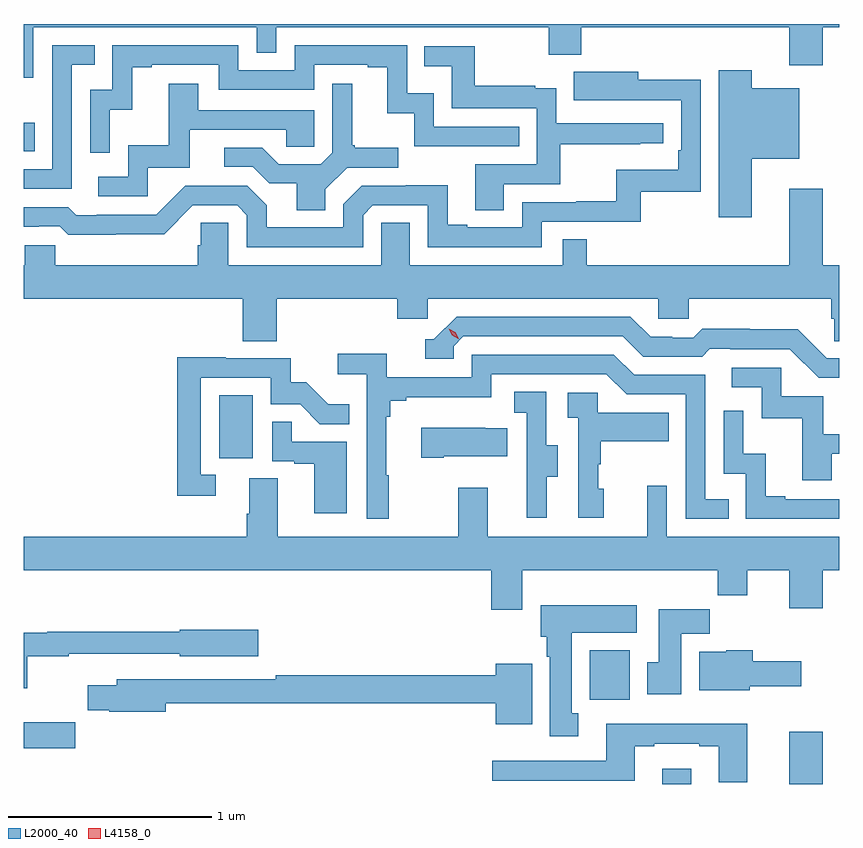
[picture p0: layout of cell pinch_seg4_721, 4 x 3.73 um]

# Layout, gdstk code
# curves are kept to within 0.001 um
import gdstk
lib = gdstk.Library(unit=1e-6, precision=1e-09)
def R(c, l, rs):  # rectangles x0, y0, x1, y1
    for r in rs: c.add(gdstk.rectangle(r[:2], r[2:], *l))
def P(c, l, *ps):  # polygons
    for p in ps: c.add(gdstk.Polygon(p, *l))
L2000_40 = (2000, 40)
L4158_0 = (4158, 0)

pinch_seg4_721 = lib.new_cell('pinch_seg4_721')
R(pinch_seg4_721, L2000_40, [(835.715,829.071,835.855,829.147), (836.336,829.071,836.5,829.327), (832.582,829.246,832.835,829.375), (835.358,829.484,835.555,829.726), (833.54,830.67,833.704,830.977), (832.582,832.175,832.637,832.315)])
P(pinch_seg4_721, L2000_40, [(832.629,832.784),(833.724,832.784),(833.724,832.657),(833.82,832.657),(833.82,832.784),(835.156,832.784),(835.156,832.649),(835.316,832.649),(835.316,832.784),(836.336,832.784),(836.336,832.596),(836.5,832.596),(836.5,832.784),(836.582,832.784),(836.582,832.799),(832.582,832.799),(832.582,832.536),(832.629,832.536)],
  [(832.818,832.599),(832.931,832.599),(832.931,832.695),(832.722,832.695),(832.722,832.086),(832.582,832.086),(832.582,831.99),(832.818,831.99)],
  [(833.004,832.379),(833.114,832.379),(833.114,832.587),(833.209,832.587),(833.209,832.599),(833.538,832.599),(833.538,832.476),(834.006,832.476),(834.006,832.599),(834.269,832.599),(834.269,832.587),(834.365,832.587),(834.365,832.361),(834.498,832.361),(834.498,832.2),(835.013,832.2),(835.013,832.296),(834.594,832.296),(834.594,832.459),(834.462,832.459),(834.462,832.695),(833.91,832.695),(833.91,832.572),(833.634,832.572),(833.634,832.695),(833.016,832.695),(833.016,832.476),(832.908,832.476),(832.908,832.167),(833.004,832.167)],
  [(834.937,832.014),(835.214,832.014),(835.214,832.21),(835.607,832.21),(835.607,832.215),(835.72,832.215),(835.72,832.311),(835.194,832.311),(835.194,832.483),(835.091,832.483),(835.091,832.495),(834.793,832.495),(834.793,832.689),(834.547,832.689),(834.547,832.592),(834.682,832.592),(834.682,832.386),(835.098,832.386),(835.098,832.11),(834.797,832.11),(834.797,831.886),(834.937,831.886)],
  [(836.152,832.139),(836.386,832.139),(836.386,832.483),(836.152,832.483),(836.152,832.573),(835.991,832.573),(835.991,831.852),(836.152,831.852)],
  [(834.246,831.861),(834.294,831.909),(834.564,831.909),(834.564,831.705),(835.122,831.705),(835.122,831.828),(835.609,831.828),(835.609,831.975),(835.902,831.975),(835.902,832.526),(835.597,832.526),(835.597,832.564),(835.279,832.564),(835.279,832.424),(835.806,832.425),(835.806,832.18),(835.793,832.18),(835.793,832.084),(835.488,832.084),(835.488,831.929),(835.291,831.929),(835.291,831.924),(835.026,831.924),(835.026,831.801),(834.757,831.801),(834.757,831.814),(834.661,831.814),(834.661,832.007),(834.456,832.007),(834.456,832.005),(834.24,832.005),(834.15,831.915),(834.15,831.801),(833.773,831.801),(833.773,831.911),(833.679,832.005),(833.373,832.005),(833.232,831.864),(832.939,831.864),(832.939,831.861),(832.84,831.861),(832.801,831.9),(832.582,831.9),(832.582,831.804),(832.656,831.804),(832.656,831.807),(832.759,831.807),(832.801,831.765),(833.034,831.765),(833.034,831.767),(833.27,831.767),(833.412,831.909),(833.628,831.909),(833.676,831.861),(833.676,831.705),(834.246,831.705)],
  [(834.061,831.988),(834.168,832.095),(834.418,832.095),(834.418,832.192),(834.205,832.192),(834.205,832.204),(834.193,832.204),(834.193,832.507),(834.096,832.507),(834.096,832.167),(834.039,832.11),(833.833,832.11),(833.752,832.191),(833.565,832.191),(833.565,832.098),(833.706,832.098),(833.786,832.018),(833.921,832.018),(833.921,831.886),(834.061,831.886)],
  [(833.19,832.095),(833.395,832.095),(833.395,832.281),(833.869,832.281),(833.869,832.197),(834.006,832.197),(834.006,832.377),(833.437,832.377),(833.437,832.507),(833.293,832.507),(833.293,832.204),(833.094,832.204),(833.094,832.05),(832.947,832.05),(832.947,831.954),(833.19,831.954)],
  [(833.822,831.452),(834.413,831.452),(834.413,831.354),(834.564,831.354),(834.564,831.452),(835.695,831.452),(835.695,831.354),(835.845,831.354),(835.845,831.452),(836.543,831.452),(836.543,831.354),(836.557,831.354),(836.557,831.244),(836.582,831.244),(836.582,831.616),(836.5,831.616),(836.5,831.991),(836.336,831.991),(836.336,831.616),(835.343,831.616),(835.343,831.743),(835.227,831.743),(835.227,831.616),(834.475,831.616),(834.475,831.824),(834.336,831.824),(834.336,831.616),(833.586,831.616),(833.586,831.824),(833.449,831.824),(833.449,831.714),(833.435,831.714),(833.435,831.616),(832.737,831.616),(832.737,831.714),(832.587,831.714),(832.587,831.616),(832.582,831.616),(832.582,831.452),(833.657,831.452),(833.657,831.244),(833.822,831.244)],
  [(836.582,831.159),(836.52,831.159),(836.378,831.301),(836.142,831.301),(836.142,831.304),(835.909,831.304),(835.867,831.261),(835.764,831.261),(835.764,831.264),(835.657,831.264),(835.558,831.363),(834.705,831.363),(834.594,831.252),(834.551,831.252),(834.551,831.156),(834.69,831.156),(834.69,831.219),(834.738,831.267),(835.521,831.267),(835.62,831.168),(835.909,831.168),(835.948,831.207),(836.047,831.207),(836.047,831.204),(836.34,831.204),(836.481,831.063),(836.582,831.063)],
  [(834.373,830.585),(834.361,830.585),(834.361,830.873),(834.38,830.873),(834.38,830.95),(834.457,830.95),(834.457,830.969),(834.876,830.969),(834.876,831.081),(835.44,831.081),(835.539,830.982),(835.83,830.982),(835.83,830.373),(836.039,830.373),(836.039,830.469),(835.926,830.469),(835.926,831.078),(835.576,831.078),(835.477,831.177),(834.78,831.177),(834.78,831.066),(834.362,831.066),(834.362,831.182),(834.123,831.182),(834.123,831.08),(834.264,831.08),(834.264,830.373),(834.373,830.373)],
  [(833.524,830.589),(833.451,830.589),(833.451,831.063),(833.793,831.063),(833.793,830.934),(833.937,830.934),(834.035,830.836),(834.179,830.836),(834.179,830.935),(834.075,830.935),(833.968,831.042),(833.892,831.042),(833.892,831.159),(833.573,831.159),(833.573,831.164),(833.335,831.164),(833.335,830.484),(833.524,830.484)],
  [(836.545,830.691),(836.582,830.691),(836.582,830.787),(836.503,830.787),(836.503,830.973),(836.298,830.973),(836.298,831.114),(836.055,831.114),(836.055,831.018),(836.202,831.018),(836.202,830.865),(836.401,830.865),(836.401,830.562),(836.545,830.562)],
  [(835.147,830.578),(835.201,830.578),(835.201,830.733),(835.146,830.733),(835.146,830.996),(834.987,830.996),(834.987,830.893),(835.05,830.893),(835.05,830.589),(835.049,830.589),(835.049,830.376),(835.147,830.376)],
  [(835.426,830.52),(835.401,830.52),(835.401,830.639),(835.411,830.639),(835.411,830.753),(835.745,830.753),(835.745,830.893),(835.398,830.893),(835.398,830.991),(835.251,830.991),(835.251,830.867),(835.302,830.867),(835.302,830.376),(835.426,830.376)],
  [(836.582,830.469),(836.317,830.469),(836.317,830.482),(836.222,830.482),(836.222,830.69),(836.112,830.69),(836.112,830.902),(836.016,830.902),(836.016,830.592),(836.124,830.592),(836.124,830.373),(836.582,830.373)],
  [(834.166,830.751),(833.897,830.751),(833.897,830.849),(833.802,830.849),(833.802,830.655),(833.909,830.655),(833.909,830.643),(834.008,830.643),(834.008,830.4),(834.166,830.4)],
  [(834.643,830.678),(834.953,830.678),(834.953,830.815),(834.845,830.815),(834.845,830.818),(834.531,830.818),(834.531,830.671),(834.643,830.671)],
  [(835.027,830.12),(835.987,830.12),(835.987,829.996),(836.131,829.996),(836.131,830.12),(836.336,830.12),(836.336,829.932),(836.5,829.932),(836.5,830.12),(836.582,830.12),(836.582,830.284),(835.737,830.284),(835.737,830.533),(835.64,830.533),(835.64,830.284),(834.859,830.284),(834.859,830.524),(834.712,830.524),(834.712,830.284),(833.827,830.284),(833.827,830.57),(833.687,830.57),(833.687,830.396),(833.675,830.396),(833.675,830.284),(832.582,830.284),(832.582,830.12),(834.875,830.12),(834.875,829.926),(835.027,829.926)],
  [(835.303,829.418),(835.27,829.418),(835.27,829.814),(835.588,829.814),(835.588,829.948),(835.118,829.948),(835.118,829.794),(835.148,829.794),(835.148,829.694),(835.163,829.694),(835.163,829.305),(835.303,829.305)],
  [(835.807,829.808),(835.946,829.808),(835.946,829.927),(835.697,829.927),(835.697,829.668),(835.64,829.668),(835.64,829.512),(835.807,829.512)],
  [(832.6,829.698),(832.802,829.698),(832.802,829.71),(833.346,829.71),(833.346,829.697),(833.731,829.697),(833.731,829.827),(833.346,829.827),(833.346,829.819),(832.696,829.819),(832.696,829.812),(832.582,829.812),(832.582,829.541),(832.6,829.541)],
  [(836.142,829.55),(836.395,829.55),(836.395,829.672),(836.159,829.672),(836.159,829.726),(836.028,829.726),(836.028,829.72),(835.895,829.72),(835.895,829.532),(836.142,829.532)],
  [(835.075,829.66),(834.896,829.66),(834.896,829.604),(833.818,829.604),(833.818,829.584),(833.039,829.584),(833.039,829.555),(832.897,829.555),(832.897,829.433),(833.002,829.433),(833.002,829.426),(833.278,829.426),(833.278,829.468),(834.896,829.468),(834.896,829.364),(835.075,829.364)],
  [(836.131,829.366),(835.439,829.366),(835.439,829.185),(834.879,829.185),(834.879,829.088),(835.579,829.088),(835.579,829.257),(835.675,829.257),(835.675,829.269),(835.895,829.269),(835.895,829.257),(835.991,829.257),(835.991,829.08),(836.131,829.08)])
P(pinch_seg4_721, L4158_0, [(834.714,831.254),(834.683,831.272),(834.666,831.304),(834.666,831.305),(834.666,831.305),(834.698,831.286),(834.715,831.254),(834.715,831.254)])

lib.write_gds('pinch_seg4_721.gds')
